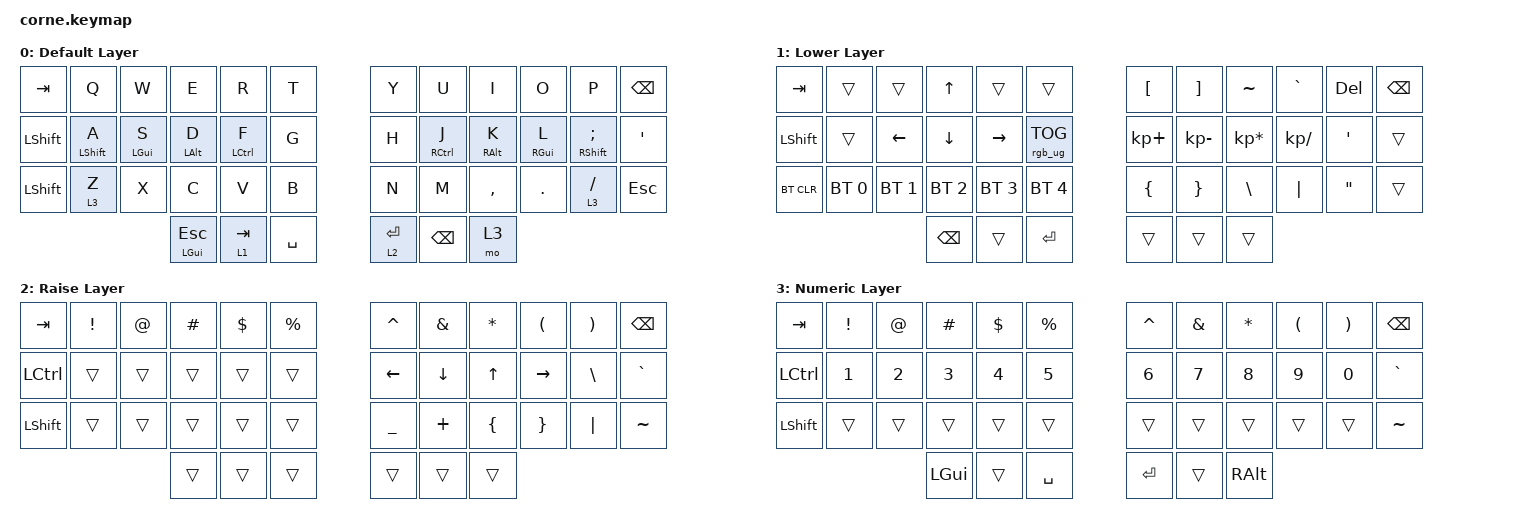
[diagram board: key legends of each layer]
/*
 * Copyright (c) 2020 The ZMK Contributors
 *
 * SPDX-License-Identifier: MIT
 */

#include <behaviors.dtsi>
#include <dt-bindings/zmk/keys.h>
#include <dt-bindings/zmk/bt.h>
#include <dt-bindings/zmk/outputs.h>
#include <dt-bindings/zmk/rgb.h>

/ {
        hm: home_row_mod {
                compatible = "zmk,behavior-hold-tap";
                label = "HOME_ROW_MOD";
                
                #binding-cells = <2>;

                tapping-term-ms = <250>;
                quick-tap-ms = <175>;
                flavor = "tap-preferred";
                require-prior-idle-ms = <100>;

                bindings = <&kp>, <&kp>;
        };
};

/ {
        keymap {
                compatible = "zmk,keymap";

                default_layer {
                        display-name = "Default Layer";
// -----------------------------------------------------------------------------------------
// |  TAB |  Q  |  W  |  E  |  R  |  T  |   |  Y  |  U   |  I  |  O  |  P  | BSPC |
// | CTRL |  A  |  S  |  D  |  F  |  G  |   |  H  |  J   |  K  |  L  |  ;  |  '   |
// | SHFT |  Z  |  X  |  C  |  V  |  B  |   |  N  |  M   |  ,  |  .  |  /  | ESC  |
//                    | GUI | LWR | SPC |   | ENT | RSE  | ALT |
                        bindings = <
   &kp TAB   &kp Q       &kp W      &kp E        &kp R       &kp T      &kp Y     &kp U        &kp I          &kp O        &kp P          &kp BSPC
   &kp LSHFT &mt LSHFT A &hm LGUI S &hm LALT D   &hm LCTRL F &kp G      &kp H     &hm RCTRL J  &hm RALT K     &hm RGUI L   &mt RSHFT SEMI &kp SQT
   &kp LSHFT &lt 3 Z     &kp X      &kp C        &kp V       &kp B      &kp N     &kp M        &kp COMMA      &kp DOT      &lt 3 FSLH     &kp ESC
                                    &mt LGUI ESC &lt 1 TAB   &kp SPACE  &lt 2 RET &kp BSPC   &mo 3
                        >;
                };

                lower_layer {
                        display-name = "Lower Layer";
// -----------------------------------------------------------------------------------------
// |  TAB |  1  |  2  |  3  |  4  |  5  |   |  6  |  7  |  8  |  9  |  0  | BSPC |
// | BTCLR| BT1 | BT2 | BT3 | BT4 | BT5 |   | LFT | DWN |  UP | RGT |     |      |
// | SHFT |     |     |     |     |     |   |     |     |     |     |     |      |
//                    | GUI |     | SPC |   | ENT |     | ALT |
                        bindings = <
   &kp TAB    &trans       &trans       &kp UP       &trans       &trans          &kp LBKT    &kp RBKT     &kp TILDE       &kp GRAVE     &kp DEL  &kp BSPC
   &kp LSHFT  &trans       &kp LEFT     &kp DOWN     &kp RIGHT    &rgb_ug RGB_TOG &kp KP_PLUS &kp KP_MINUS &kp KP_MULTIPLY &kp KP_DIVIDE &kp SQT  &trans
   &bt BT_CLR &bt BT_SEL 0 &bt BT_SEL 1 &bt BT_SEL 2 &bt BT_SEL 3 &bt BT_SEL 4    &kp LBRC    &kp RBRC     &kp BSLH        &kp PIPE      &kp DQT  &trans
                           &kp BSPC     &trans       &kp RET      &trans          &trans      &trans
                        >;
                };

                raise_layer {
                        display-name = "Raise Layer";
// -----------------------------------------------------------------------------------------
// |  TAB |  !  |  @  |  #  |  $  |  %  |   |  ^  |  &  |  *  |  (  |  )  | BSPC |
// | CTRL |     |     |     |     |     |   |  -  |  =  |  [  |  ]  |  \  |  `   |
// | SHFT |     |     |     |     |     |   |  _  |  +  |  {  |  }  | "|" |  ~   |
//                    | GUI |     | SPC |   | ENT |     | ALT |
                        bindings = <
   &kp  TAB  &kp EXCL &kp AT &kp HASH &kp DLLR &kp PRCNT   &kp CARET &kp AMPS  &kp ASTRK &kp LPAR  &kp RPAR &kp BSPC
   &kp LCTRL &trans   &trans &trans   &trans   &trans      &kp LEFT  &kp DOWN  &kp UP    &kp RIGHT &kp BSLH &kp GRAVE
   &kp LSHFT &trans   &trans &trans   &trans   &trans      &kp UNDER &kp PLUS  &kp LBRC  &kp RBRC  &kp PIPE &kp TILDE
                             &trans &trans   &trans   &trans    &trans    &trans
                        >;
                };

                numeric_layer {
                        display-name = "Numeric Layer";
// -----------------------------------------------------------------------------------------
// |  TAB |  !  |  @  |  #  |  $  |  %  |   |  ^  |  &  |  *  |  (  |  )  | BSPC |
// | CTRL |     |     |     |     |     |   |  -  |  =  |  [  |  ]  |  \  |  `   |
// | SHFT |     |     |     |     |     |   |  _  |  +  |  {  |  }  | "|" |  ~   |
//                    | GUI |     | SPC |   | ENT |     | ALT |
                        bindings = <
   &kp TAB  &kp EXCL     &kp AT       &kp HASH     &kp DLLR     &kp PRCNT     &kp CARET &kp AMPS  &kp ASTRK &kp LPAR  &kp RPAR &kp BSPC
   &trans   &kp N1       &kp N2       &kp N3       &kp N4       &kp N5        &kp N6    &kp N7    &kp N8    &kp N9    &kp N0   &trans
   &kp TAB  &bt BT_SEL 0 &bt BT_SEL 1 &bt BT_SEL 2 &bt BT_SEL 3 &bt BT_SEL 4  &trans    &trans    &trans    &trans    &trans   &kp TILDE
                                      &bt BT_CLR   &out OUT_TOG &kp SPACE     &kp RET   &kp RALT  &trans  
                        >;
                };

                numeric_layer {
                        display-name = "Numeric Layer";
// -----------------------------------------------------------------------------------------
// |  TAB |  !  |  @  |  #  |  $  |  %  |   |  ^  |  &  |  *  |  (  |  )  | BSPC |
// | CTRL |     |     |     |     |     |   |  -  |  =  |  [  |  ]  |  \  |  `   |
// | SHFT |     |     |     |     |     |   |  _  |  +  |  {  |   }   ||"|"| ~   |
//                    | GUI |     | SPC |   | ENT |     | ALT |
                        bindings = <
   &kp  TAB  &kp EXCL &kp AT &kp HASH &kp DLLR &kp PRCNT   &kp CARET &kp AMPS  &kp ASTRK &kp LPAR &kp RPAR &kp BSPC
   &kp LCTRL &kp N1   &kp N2 &kp N3   &kp N4   &kp N5      &kp N6    &kp N7    &kp N8    &kp N9   &kp N0   &kp GRAVE
   &kp LSHFT &trans   &trans &trans   &trans   &trans      &trans    &trans    &trans    &trans   &trans   &kp TILDE
                             &kp LGUI &trans   &kp SPACE   &kp RET   &trans    &kp RALT
                        >;
                };
        };
};
